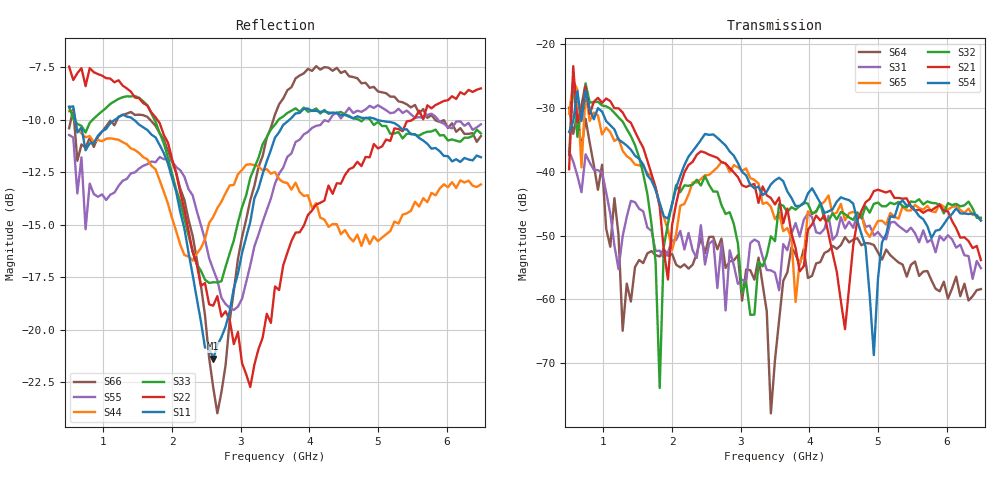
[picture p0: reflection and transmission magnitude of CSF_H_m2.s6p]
!Keysight Technologies,M9804A,MY58100912,A.14.10.03
!Date: Thursday, April 27, 2023 10:28:33
!Correction: S11(C  6-Port  )
!S12(C  6-Port  )
!S13(C  6-Port  )
!S14(C  6-Port  )
!S15(C  6-Port  )
!S16(C  6-Port  )
!S21(C  6-Port  )
!S22(C  6-Port  )
!S23(C  6-Port  )
!S24(C  6-Port  )
!S25(C  6-Port  )
!S26(C  6-Port  )
!S31(C  6-Port  )
!S32(C  6-Port  )
!S33(C  6-Port  )
!S34(C  6-Port  )
!S35(C  6-Port  )
!S36(C  6-Port  )
!S41(C  6-Port  )
!S42(C  6-Port  )
!S43(C  6-Port  )
!S44(C  6-Port  )
!S45(C  6-Port  )
!S46(C  6-Port  )
!S51(C  6-Port  )
!S52(C  6-Port  )
!S53(C  6-Port  )
!S54(C  6-Port  )
!S55(C  6-Port  )
!S56(C  6-Port  )
!S61(C  6-Port  )
!S62(C  6-Port  )
!S63(C  6-Port  )
!S64(C  6-Port  )
!S65(C  6-Port  )
!S66(C  6-Port  )
!S6P File: Measurement: :
# Hz S  RI  R 50
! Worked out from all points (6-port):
!   101 points, 500 MHz to 6.5 GHz, reference 50 ohm
!   strongest paths, dB at 500 MHz, 2 GHz, 3.5 GHz, 5 GHz, 6.5 GHz:
!     S54: -33.8, -45.2, -41.3, -56.8, -47.6
!     S21: -39.6, -48.4, -45.1, -42.8, -53.8
!     S32: -37.4, -45.0, -50.9, -44.8, -47.2
!     S65: -30.9, -52.3, -47.4, -47.7, -47.6
!     S31: -36.8, -50.8, -55.8, -49.4, -55.1
!     S64: -30.0, -52.9, -69.4, -52.6, -58.4
!   lowest |S11| = -21.4 dB at 2.6 GHz (marker M1), VSWR 1.19, Z = 42.4 + j2.17 ohm
!   |S11| at or under -10 dB: 590.2 MHz to 1.172 GHz (581.8 MHz wide, 66 % of centre); 1.439 GHz to 3.714 GHz (2.275 GHz wide, 88.3 % of centre); 4.978 GHz to end of sweep
